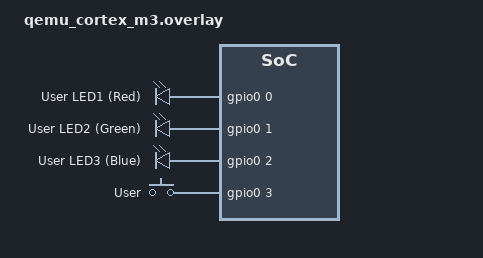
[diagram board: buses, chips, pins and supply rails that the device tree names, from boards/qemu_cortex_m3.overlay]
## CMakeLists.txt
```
# SPDX-License-Identifier: Apache-2.0

cmake_minimum_required(VERSION 3.20.0)

# Important: Don't set BOARD_ROOT to avoid using custom board definitions
# This helps ensure we use the standard Zephyr board definitions only

find_package(Zephyr REQUIRED HINTS $ENV{ZEPHYR_BASE})
project(stm32h573i_dk_app)

# Platform-specific defines for conditional compilation
if(CONFIG_BOARD_QEMU_CORTEX_M3)
    message(STATUS "Building for QEMU Cortex-M3 simulation")
    target_compile_definitions(app PRIVATE 
        -DPLATFORM_QEMU=1
        -DPLATFORM_STM32H573I_DK=0
        -DHW_AES_AVAILABLE=0
        -DHW_RNG_AVAILABLE=0
        -DHW_SHA_AVAILABLE=0
        -DHW_PKA_AVAILABLE=0
        -DUSE_SW_CRYPTO=1
    )
elseif(CONFIG_BOARD_STM32H573I_DK)
    message(STATUS "Building for STM32H573I-DK hardware")
    target_compile_definitions(app PRIVATE 
        -DPLATFORM_QEMU=0
        -DPLATFORM_STM32H573I_DK=1
        -DHW_AES_AVAILABLE=1
        -DHW_RNG_AVAILABLE=1
        -DHW_SHA_AVAILABLE=0
        -DHW_PKA_AVAILABLE=0
        -DUSE_SW_CRYPTO_FALLBACK=1
    )
else()
    message(WARNING "Unknown board target - using QEMU simulation defaults")
    target_compile_definitions(app PRIVATE 
        -DPLATFORM_QEMU=1
        -DPLATFORM_STM32H573I_DK=0
        -DHW_AES_AVAILABLE=0
        -DHW_RNG_AVAILABLE=0
        -DHW_SHA_AVAILABLE=0
        -DHW_PKA_AVAILABLE=0
        -DUSE_SW_CRYPTO=1
    )
endif()

# Source files
target_sources(app PRIVATE 
    src/main.c
    src/gpio_control.c
    src/uart_comm.c
    src/uart_demo.c
    src/crypto_ops.c
    src/crypto_demo.c
    src/gpio_test.c
    src/mem_protect.c
    src/mem_protect_demo.c
)

# Include directories
target_include_directories(app PRIVATE src)

# Print build information
message(STATUS "Board: ${BOARD}")
message(STATUS "Build type: ${CMAKE_BUILD_TYPE}")
```

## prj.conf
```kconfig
# Common Configuration for both QEMU and STM32H573I-DK platforms

# Enable console and UART
CONFIG_CONSOLE=y
CONFIG_UART_CONSOLE=y
CONFIG_UART_INTERRUPT_DRIVEN=y

# Enable shell
CONFIG_SHELL=y
CONFIG_SHELL_BACKEND_SERIAL=y
CONFIG_SHELL_PROMPT_UART="crypto_shell:~$ "
CONFIG_SHELL_CMDS=y
CONFIG_SHELL_TAB=y
CONFIG_SHELL_TAB_AUTOCOMPLETION=y
CONFIG_SHELL_HISTORY=y

# Enable GPIO
CONFIG_GPIO=y

# Enable logging
CONFIG_LOG=y
CONFIG_LOG_MODE_MINIMAL=y

# Enable memory management
CONFIG_HEAP_MEM_POOL_SIZE=16384
CONFIG_MAIN_STACK_SIZE=2048

# Enable random number generation
CONFIG_ENTROPY_GENERATOR=y
CONFIG_TEST_RANDOM_GENERATOR=y

# Software cryptography fallbacks using mbedTLS
CONFIG_MBEDTLS=y
CONFIG_MBEDTLS_BUILTIN=y
CONFIG_MBEDTLS_SHA256_C=y

# Build settings
CONFIG_DEBUG=y
CONFIG_ASSERT=y

# Platform-specific configuration (auto-selected based on board)
# ---------------------------------------------------------------

# STM32H573I-DK specific configurations
CONFIG_UART_STM32=y
CONFIG_CLOCK_CONTROL=y
CONFIG_DMA=y

# Enable memory protection (disabled if building for QEMU)
CONFIG_MPU=y
CONFIG_HW_STACK_PROTECTION=y
CONFIG_ARM_MPU=y

# Enable hardware crypto drivers (disabled if building for QEMU)
CONFIG_CRYPTO=y
CONFIG_CRYPTO_STM32=y
CONFIG_CRYPTO_STM32_CRYP=y
CONFIG_CRYPTO_STM32_AES=y

# Hardware RNG (disabled if building for QEMU)
CONFIG_ENTROPY_STM32_RNG=y

# Automatic board detection
# If building for QEMU, create QEMU board definition
# These settings are automatically set based on the selected board
# CONFIG_BOARD_QEMU_CORTEX_M3 is set automatically when building with -b qemu_cortex_m3
# Use 'west build -b stm32h573i_dk' for hardware build
# Use 'west build -b qemu_cortex_m3' for QEMU simulation build
```

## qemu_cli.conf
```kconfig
# Basic configuration for QEMU CLI testing
CONFIG_CONSOLE=y
CONFIG_UART_CONSOLE=y
CONFIG_SERIAL=y

# Shell configuration
CONFIG_SHELL=y
CONFIG_SHELL_BACKEND_SERIAL=y
CONFIG_SHELL_PROMPT_UART="qemu_cli:~$ "
CONFIG_SHELL_CMDS=y
CONFIG_SHELL_TAB=y
CONFIG_SHELL_TAB_AUTOCOMPLETION=y
CONFIG_SHELL_HISTORY=y

# Logging
CONFIG_LOG=y
CONFIG_LOG_MODE_IMMEDIATE=y
CONFIG_LOG_BACKEND_UART=y

# Software crypto
CONFIG_MBEDTLS=y
CONFIG_MBEDTLS_BUILTIN=y
CONFIG_CRYPTO=y
CONFIG_MBEDTLS_AES_C=y
CONFIG_MBEDTLS_SHA256_C=y
CONFIG_MBEDTLS_GCM_C=y

# Random number generation
CONFIG_ENTROPY_GENERATOR=y
CONFIG_TEST_RANDOM_GENERATOR=y

# Explicitly disable hardware features not available in QEMU
CONFIG_MPU=n
CONFIG_ARM_MPU=n
CONFIG_HW_STACK_PROTECTION=n
```

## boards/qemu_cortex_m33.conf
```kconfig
# QEMU configuration for STM32H573I-DK (Cortex-M33)

# Enable FPU
CONFIG_FPU=y
CONFIG_FP_HARDABI=y

# Memory configuration
CONFIG_SRAM_SIZE=1024
CONFIG_FLASH_SIZE=2048

# QEMU specific settings
CONFIG_QEMU_ICOUNT=n

# STM32H573I-DK specific settings
CONFIG_CLOCK_CONTROL=y
CONFIG_SERIAL=y
CONFIG_CONSOLE=y
CONFIG_UART_CONSOLE=y
CONFIG_GPIO=y

# CPU configuration is handled by the board definition

# Enable logging
CONFIG_LOG=y
CONFIG_LOG_MODE_MINIMAL=y

# QEMU emulation settings
```

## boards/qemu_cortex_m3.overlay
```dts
/*
 * Copyright (c) 2025 CRUSTy-Core
 *
 * SPDX-License-Identifier: Apache-2.0
 */

/* This file contains device tree overlays specific to QEMU emulation */

/ {
	aliases {
		led0 = &red_led;
		led1 = &green_led;
		led2 = &blue_led;
		sw0 = &user_button;
	};

	leds {
		compatible = "gpio-leds";
		red_led: led_0 {
			gpios = <&gpio0 0 0>;
			label = "User LED1 (Red)";
		};
		green_led: led_1 {
			gpios = <&gpio0 1 0>;
			label = "User LED2 (Green)";
		};
		blue_led: led_2 {
			gpios = <&gpio0 2 0>;
			label = "User LED3 (Blue)";
		};
	};

	gpio_keys {
		compatible = "gpio-keys";
		user_button: button {
			label = "User";
			gpios = <&gpio0 3 0>;
		};
	};
};
```

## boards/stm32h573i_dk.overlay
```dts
/*
 * Copyright (c) 2025 CRUSTy-Core
 *
 * SPDX-License-Identifier: Apache-2.0
 *
 * STM32H573I-DK Board Device Tree Overlay
 * ---------------------------------------
 * Hardware Security Feature Configuration
 * 
 * This overlay has been updated based on comprehensive verification of available
 * hardware security features on the STM32H573I-DK board. Only nodes that have been
 * verified to exist in the base devicetree and confirmed to work properly are enabled.
 * 
 * See Documentation/Embedded/STM32H573I_Security_Features.md for detailed information
 * on which hardware security features are available, which require software fallback
 * implementations, and performance comparisons between hardware and software.
 */

/ {
	chosen {
		zephyr,console = &usart1;
		zephyr,shell-uart = &usart1;
	};

	/* Define secure memory regions for crypto operations */
	soc {
		crypto_memory: memory@20030000 {
			compatible = "mmio-sram";
			reg = <0x20030000 DT_SIZE_K(16)>;
			status = "okay";
		};
	};
};

/* UART configuration */
&usart1 {
	status = "okay";
	current-speed = <115200>;
};

/* AES hardware accelerator - Verified working */
&aes {
	status = "okay";
};

/* Random Number Generator - Verified working */
&rng {
	status = "okay";
};

/* NOTE: The following hardware security features mentioned in the STM32H573I
 * reference manual are NOT currently available in the Zephyr devicetree and
 * must be implemented in software:
 * 
 * - SHA/HASH hardware accelerator (no &hash node in devicetree)
 * - Public Key Accelerator (no &pka node in devicetree)
 * 
 * See Documentation/Embedded/STM32H573I_Security_Features.md for software
 * fallback implementations and performance impact analysis.
 */
```

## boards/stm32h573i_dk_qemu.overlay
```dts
/*
 * Copyright (c) 2025 CRUSTy-Core
 *
 * SPDX-License-Identifier: Apache-2.0
 */

/* This file contains device tree overlays specific to QEMU emulation */

/* Make sure LEDs are available in QEMU */
/ {
	aliases {
		led0 = &red_led;
		led1 = &green_led;
		led2 = &blue_led;
		sw0 = &user_button;
	};

	leds {
		compatible = "gpio-leds";
		red_led: led_0 {
			gpios = <&gpioa 2 GPIO_ACTIVE_HIGH>;
			label = "User LED1 (Red)";
		};
		green_led: led_1 {
			gpios = <&gpioa 3 GPIO_ACTIVE_HIGH>;
			label = "User LED2 (Green)";
		};
		blue_led: led_2 {
			gpios = <&gpioa 4 GPIO_ACTIVE_HIGH>;
			label = "User LED3 (Blue)";
		};
	};

	gpio_keys {
		compatible = "gpio-keys";
		user_button: button {
			label = "User";
			gpios = <&gpioc 13 GPIO_ACTIVE_HIGH>;
		};
	};
};

/* Make sure UART is configured for QEMU */
&usart1 {
	pinctrl-0 = <&usart1_tx_pa9 &usart1_rx_pa10>;
	pinctrl-names = "default";
	current-speed = <115200>;
	status = "okay";
};
```

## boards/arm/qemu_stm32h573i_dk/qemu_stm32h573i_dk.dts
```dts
/*
 * Copyright (c) 2025 CRUSTy-Core
 *
 * SPDX-License-Identifier: Apache-2.0
 */

/dts-v1/;
#include <arm/armv7-m.dtsi>
#include <zephyr/dt-bindings/i2c/i2c.h>

/ {
	model = "QEMU STM32H573I-DK";
	compatible = "arm,mps2-an500", "qemu,stm32h573i-dk";

	chosen {
		zephyr,console = &uart0;
		zephyr,shell-uart = &uart0;
		zephyr,sram = &sram0;
		zephyr,flash = &flash0;
	};

	aliases {
		led0 = &led0;
	};

	leds {
		compatible = "gpio-leds";
		led0: led_0 {
			gpios = <&gpio0 0 0>;
			label = "User LED";
		};
	};

	soc {
		uart0: uart@40001000 {
			compatible = "ns16550";
			reg = <0x40001000 0x1000>;
			interrupts = <3 0>;
			status = "okay";
			current-speed = <115200>;
		};

		uart1: uart@40002000 {
			compatible = "ns16550";
			reg = <0x40002000 0x1000>;
			interrupts = <4 0>;
			status = "okay";
			current-speed = <115200>;
		};

		gpio0: gpio@40000000 {
			compatible = "ti,stellaris-gpio";
			reg = <0x40000000 0x1000>;
			interrupts = <0 0>;
			gpio-controller;
			#gpio-cells = <2>;
		};

		i2c0: i2c@40003000 {
			compatible = "ti,stellaris-i2c";
			reg = <0x40003000 0x1000>;
			interrupts = <1 0>;
			status = "okay";
			#address-cells = <1>;
			#size-cells = <0>;
		};

		spi0: spi@40004000 {
			compatible = "ti,stellaris-spi";
			reg = <0x40004000 0x1000>;
			interrupts = <2 0>;
			status = "okay";
			#address-cells = <1>;
			#size-cells = <0>;
		};
	};

	flash0: flash@0 {
		compatible = "soc-nv-flash";
		reg = <0x00000000 DT_SIZE_M(2)>;
	};

	sram0: memory@20000000 {
		compatible = "mmio-sram";
		reg = <0x20000000 DT_SIZE_K(640)>;
	};
};
```

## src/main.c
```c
/*
 * Copyright (c) 2025 CRUSTy-Core
 *
 * SPDX-License-Identifier: Apache-2.0
 */

#include <zephyr/kernel.h>
#include <zephyr/device.h>
#include <zephyr/logging/log.h>
#include <string.h>
#include "gpio_control.h"
#include "uart_comm.h"
#include "uart_demo.h"
#include "crypto_ops.h"
#include "crypto_demo.h"
#include "gpio_test.h"
#include "mem_protect.h"
#include "mem_protect_demo.h"
#include "shell_cmds.h"

LOG_MODULE_REGISTER(main, CONFIG_LOG_DEFAULT_LEVEL);

/* For QEMU compatibility */
#ifdef QEMU
#define UART_DEV_NAME_QEMU "UART_0"
#define QEMU_TEST_MODE     1  /* Set to 1 to enter GPIO test mode automatically on QEMU */
#endif

/* LED state tracking */
static bool led_blinking[GPIO_LED_COUNT] = {false};
static uint32_t led_blink_periods[GPIO_LED_COUNT] = {0};

/* Button callback */
static void button_pressed_cb(const struct device *dev, struct gpio_callback *cb, uint32_t pins)
{
    int state;
    gpio_control_button_get_state(&state);
    
    if (state) {
        LOG_INF("User button pressed");
        
        /* Toggle all LEDs */
        for (int i = 0; i < GPIO_LED_COUNT; i++) {
            if (gpio_control_led_is_ready(i)) {
                if (led_blinking[i]) {
                    gpio_control_led_blink_stop(i);
                    led_blinking[i] = false;
                } else {
                    gpio_control_led_toggle(i);
                }
            }
        }
    } else {
        LOG_INF("User button released");
    }
}

void main(void)
{
    int ret;

    LOG_INF("STM32H573I-DK CRUSTy-Core Demo");
    LOG_INF("Board: %s", CONFIG_BOARD);

#ifdef QEMU
    LOG_INF("Running in QEMU emulation mode");
#else
    LOG_INF("Running on real hardware");
#endif

    /* Initialize GPIO control module */
    ret = gpio_control_init();
    if (ret != GPIO_CTRL_SUCCESS) {
        LOG_ERR("Failed to initialize GPIO control module: %d", ret);
        return;
    }
    LOG_INF("GPIO control module initialized successfully");
    
    /* Check available LEDs */
    LOG_INF("Checking LED availability:");
    LOG_INF("- Red LED: %s", gpio_control_led_is_ready(GPIO_LED_RED) ? "available" : "not available");
    LOG_INF("- Green LED: %s", gpio_control_led_is_ready(GPIO_LED_GREEN) ? "available" : "not available");
    LOG_INF("- Blue LED: %s", gpio_control_led_is_ready(GPIO_LED_BLUE) ? "available" : "not available");
    
    /* Check button availability */
    LOG_INF("User button: %s", gpio_control_button_is_ready() ? "available" : "not available");
    
    /* Register button callback */
    if (gpio_control_button_is_ready()) {
        ret = gpio_control_button_register_callback(button_pressed_cb);
        if (ret != GPIO_CTRL_SUCCESS) {
            LOG_WRN("Failed to register button callback: %d", ret);
        } else {
            LOG_INF("Button callback registered successfully");
        }
    }

    /* Initialize UART demo */
    uart_demo_init();
    LOG_INF("UART demo initialized");

    /* Initialize and run crypto demo */
    ret = crypto_demo_init();
    if (ret != 0) {
        LOG_ERR("Failed to initialize crypto demo: %d", ret);
        /* Continue execution even if crypto demo fails */
    } else {
        LOG_INF("Crypto demo initialized successfully");
        
        /* Run the crypto demo - this will perform various crypto operations */
        ret = crypto_demo_run();
        if (ret != 0) {
            LOG_ERR("Crypto demo execution failed: %d", ret);
        } else {
            LOG_INF("Crypto demo executed successfully");
            /* Blink blue LED if available to indicate crypto success */
            if (gpio_control_led_is_ready(GPIO_LED_BLUE)) {
                gpio_control_led_blink(GPIO_LED_BLUE, 500);
                led_blinking[GPIO_LED_BLUE] = true;
                led_blink_periods[GPIO_LED_BLUE] = 500;
            }
        }
    }
    
    /* Initialize and run memory protection demo */
    ret = mem_protect_demo_init();
    if (ret != 0) {
        LOG_ERR("Failed to initialize memory protection demo: %d", ret);
        /* Continue execution even if memory protection demo fails */
    } else {
        LOG_INF("Memory protection demo initialized successfully");
        
        /* Run the memory protection demo */
        ret = mem_protect_demo_run();
        if (ret != 0) {
            LOG_ERR("Memory protection demo execution failed: %d", ret);
            /* Blink red LED to indicate failure if available */
            if (gpio_control_led_is_ready(GPIO_LED_RED)) {
                gpio_control_led_blink(GPIO_LED_RED, 250);
                led_blinking[GPIO_LED_RED] = true;
                led_blink_periods[GPIO_LED_RED] = 250;
            }
        } else {
            LOG_INF("Memory protection demo executed successfully");
            /* Faster blink blue LED to indicate memory protection success */
            if (gpio_control_led_is_ready(GPIO_LED_BLUE)) {
                gpio_control_led_blink(GPIO_LED_BLUE, 250);
                led_blinking[GPIO_LED_BLUE] = true;
                led_blink_periods[GPIO_LED_BLUE] = 250;
            }
        }
    }
    
    /* Initialize shell commands */
    ret = shell_cmds_init();
    if (ret != 0) {
        LOG_ERR("Failed to initialize shell commands: %d", ret);
    } else {
        LOG_INF("Shell commands initialized successfully");
    }

    /* Blink green LED to indicate system is running */
    if (gpio_control_led_is_ready(GPIO_LED_GREEN)) {
        gpio_control_led_blink(GPIO_LED_GREEN, 1000);
        led_blinking[GPIO_LED_GREEN] = true;
        led_blink_periods[GPIO_LED_GREEN] = 1000;
        LOG_INF("Demo running, Green LED blinking");
    } else if (gpio_control_led_is_ready(GPIO_LED_RED)) {
        /* Fall back to red LED if green isn't available */
        gpio_control_led_blink(GPIO_LED_RED, 1000);
        led_blinking[GPIO_LED_RED] = true;
        led_blink_periods[GPIO_LED_RED] = 1000;
        LOG_INF("Demo running, Red LED blinking");
    }
    
    LOG_INF("Starting main application loop");

#if defined(QEMU) && defined(QEMU_TEST_MODE) && QEMU_TEST_MODE == 1
    /* When running in QEMU, automatically start the GPIO test sequence */
    LOG_INF("QEMU test mode detected, starting GPIO test automatically");
    k_sleep(K_MSEC(1000));  /* Wait for UART setup to complete */
    gpio_test_print_help();
    k_sleep(K_MSEC(500));
    gpio_test_run_sequence();
    
    /* Also show memory protection demo help */
    k_sleep(K_MSEC(500));
    mem_protect_demo_print_help();
#endif

    /* Start UART demo in a separate thread */
    uart_demo_run();
    
    /* We should never reach here as uart_demo_run has an infinite loop */
    LOG_ERR("Unexpected exit from main loop");
}
```

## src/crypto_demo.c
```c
/*
 * Copyright (c) 2025 CRUSTy-Core
 *
 * SPDX-License-Identifier: Apache-2.0
 */

#include <zephyr/kernel.h>
#include <zephyr/logging/log.h>
#include <string.h>

#include "crypto_ops.h"
#include "crypto_demo.h"

LOG_MODULE_REGISTER(crypto_demo, CONFIG_LOG_DEFAULT_LEVEL);

/* Test data sizes */
#define DEMO_SMALL_SIZE  64
#define DEMO_MEDIUM_SIZE 512
#define DEMO_LARGE_SIZE  1024

/* AES key, nonce, and AAD */
static uint8_t demo_key[32] = {0};
static uint8_t demo_nonce[12] = {0};
static uint8_t demo_aad[16] = {0};

/* Data buffers */
static uint8_t demo_plaintext[DEMO_LARGE_SIZE] = {0};
static uint8_t demo_ciphertext[DEMO_LARGE_SIZE] = {0};
static uint8_t demo_tag[16] = {0};
static uint8_t demo_decrypted[DEMO_LARGE_SIZE] = {0};
static uint8_t demo_hash[32] = {0};

/* Results */
static bool has_hw_aes = false;
static bool has_hw_rng = false;
static bool has_hw_sha = false;
static bool has_hw_pka = false;

/**
 * @brief Run an AES-GCM demo test with the specified size
 *
 * @param size Size of the test data
 * @return 0 on success, negative value on error
 */
static int run_aes_gcm_test(size_t size)
{
    int ret;
    size_t ciphertext_len = sizeof(demo_ciphertext);
    size_t decrypted_len = sizeof(demo_decrypted);
    uint64_t start_time, encrypt_time, decrypt_time;

    LOG_INF("Running AES-GCM test with %zu bytes", size);

    /* Encrypt the data */
    start_time = k_uptime_get();
    ret = crypto_ops_aes_gcm_encrypt(demo_key, sizeof(demo_key),
                                   demo_nonce, sizeof(demo_nonce),
                                   demo_aad, sizeof(demo_aad),
                                   demo_plaintext, size,
                                   demo_ciphertext, &ciphertext_len,
                                   demo_tag, sizeof(demo_tag));
    encrypt_time = k_uptime_get() - start_time;
    if (ret) {
        LOG_ERR("AES-GCM encryption failed: %d", ret);
        return ret;
    }

    LOG_INF("AES-GCM encryption took %llu ms", encrypt_time);

    /* Decrypt the data */
    start_time = k_uptime_get();
    ret = crypto_ops_aes_gcm_decrypt(demo_key, sizeof(demo_key),
                                   demo_nonce, sizeof(demo_nonce),
                                   demo_aad, sizeof(demo_aad),
                                   demo_ciphertext, ciphertext_len,
                                   demo_tag, sizeof(demo_tag),
                                   demo_decrypted, &decrypted_len);
    decrypt_time = k_uptime_get() - start_time;
    if (ret) {
        LOG_ERR("AES-GCM decryption failed: %d", ret);
        return ret;
    }

    LOG_INF("AES-GCM decryption took %llu ms", decrypt_time);

    /* Verify the decrypted data matches the original */
    if (memcmp(demo_plaintext, demo_decrypted, size) != 0) {
        LOG_ERR("AES-GCM verification failed: decrypted data does not match plaintext");
        return -EINVAL;
    }

    LOG_INF("AES-GCM verification successful");
    LOG_INF("AES-GCM performance: %llu bytes/sec (encryption), %llu bytes/sec (decryption)",
           encrypt_time > 0 ? (size * 1000) / encrypt_time : 0,
           decrypt_time > 0 ? (size * 1000) / decrypt_time : 0);

    return 0;
}

/**
 * @brief Run a SHA-256 demo test with the specified size
 *
 * @param size Size of the test data
 * @return 0 on success, negative value on error
 */
static int run_sha256_test(size_t size)
{
    int ret;
    uint64_t start_time, hash_time;

    LOG_INF("Running SHA-256 test with %zu bytes", size);

    /* Calculate the hash */
    start_time = k_uptime_get();
    ret = crypto_ops_sha256(demo_plaintext, size, demo_hash);
    hash_time = k_uptime_get() - start_time;
    if (ret) {
        LOG_ERR("SHA-256 calculation failed: %d", ret);
        return ret;
    }

    LOG_INF("SHA-256 calculation took %llu ms", hash_time);
    LOG_INF("SHA-256 performance: %llu bytes/sec",
           hash_time > 0 ? (size * 1000) / hash_time : 0);

    /* Print the hash (only first 8 bytes for brevity) */
    LOG_INF("SHA-256 hash (first 8 bytes): %02x %02x %02x %02x %02x %02x %02x %02x",
           demo_hash[0], demo_hash[1], demo_hash[2], demo_hash[3],
           demo_hash[4], demo_hash[5], demo_hash[6], demo_hash[7]);

    return 0;
}

/**
 * @brief Run a random number generation demo test
 *
 * @return 0 on success, negative value on error
 */
static int run_rng_test(void)
{
    int ret;
    uint64_t start_time, rng_time;
    const size_t rng_size = 32;
    uint8_t rand_buf[32];

    LOG_INF("Running RNG test for %zu bytes", rng_size);

    /* Generate random bytes */
    start_time = k_uptime_get();
    ret = crypto_ops_random_bytes(rand_buf, rng_size);
    rng_time = k_uptime_get() - start_time;
    if (ret) {
        LOG_ERR("Random number generation failed: %d", ret);
        return ret;
    }

    LOG_INF("RNG generation took %llu ms", rng_time);
    LOG_INF("RNG performance: %llu bytes/sec",
           rng_time > 0 ? (rng_size * 1000) / rng_time : 0);

    /* Print the random bytes (only first 8 bytes for brevity) */
    LOG_INF("Random data (first 8 bytes): %02x %02x %02x %02x %02x %02x %02x %02x",
           rand_buf[0], rand_buf[1], rand_buf[2], rand_buf[3],
           rand_buf[4], rand_buf[5], rand_buf[6], rand_buf[7]);

    return 0;
}

int crypto_demo_init(void)
{
    int ret;

    LOG_INF("Initializing crypto demo");

    /* Initialize the crypto subsystem */
    ret = crypto_ops_init();
    if (ret) {
        LOG_ERR("Failed to initialize crypto subsystem: %d", ret);
        return ret;
    }

    /* Get capabilities */
    crypto_ops_get_capabilities(&has_hw_aes, &has_hw_rng, &has_hw_sha, &has_hw_pka);
    LOG_INF("Hardware capabilities: AES: %s, RNG: %s, SHA: %s, PKA: %s",
           has_hw_aes ? "YES" : "NO",
           has_hw_rng ? "YES" : "NO",
           has_hw_sha ? "YES" : "NO",
           has_hw_pka ? "YES" : "NO");

    /* Generate random key, nonce, and AAD */
    ret = crypto_ops_random_bytes(demo_key, sizeof(demo_key));
    if (ret) {
        LOG_ERR("Failed to generate random key: %d", ret);
        return ret;
    }

    ret = crypto_ops_random_bytes(demo_nonce, sizeof(demo_nonce));
    if (ret) {
        LOG_ERR("Failed to generate random nonce: %d", ret);
        return ret;
    }

    ret = crypto_ops_random_bytes(demo_aad, sizeof(demo_aad));
    if (ret) {
        LOG_ERR("Failed to generate random AAD: %d", ret);
        return ret;
    }

    /* Generate random plaintext for the largest test */
    ret = crypto_ops_random_bytes(demo_plaintext, sizeof(demo_plaintext));
    if (ret) {
        LOG_ERR("Failed to generate random plaintext: %d", ret);
        return ret;
    }

    LOG_INF("Crypto demo initialized successfully");
    return 0;
}

int crypto_demo_run(void)
{
    int ret;

    LOG_INF("Running crypto demo");

    /* Run the RNG test */
    ret = run_rng_test();
    if (ret) {
        LOG_ERR("RNG test failed: %d", ret);
        return ret;
    }

    /* Run AES-GCM tests with different sizes */
    ret = run_aes_gcm_test(DEMO_SMALL_SIZE);
    if (ret) {
        LOG_ERR("AES-GCM test (small) failed: %d", ret);
        return ret;
    }

    ret = run_aes_gcm_test(DEMO_MEDIUM_SIZE);
    if (ret) {
        LOG_ERR("AES-GCM test (medium) failed: %d", ret);
        return ret;
    }

    ret = run_aes_gcm_test(DEMO_LARGE_SIZE);
    if (ret) {
        LOG_ERR("AES-GCM test (large) failed: %d", ret);
        return ret;
    }

    /* Run SHA-256 tests with different sizes */
    ret = run_sha256_test(DEMO_SMALL_SIZE);
    if (ret) {
        LOG_ERR("SHA-256 test (small) failed: %d", ret);
        return ret;
    }

    ret = run_sha256_test(DEMO_MEDIUM_SIZE);
    if (ret) {
        LOG_ERR("SHA-256 test (medium) failed: %d", ret);
        return ret;
    }

    ret = run_sha256_test(DEMO_LARGE_SIZE);
    if (ret) {
        LOG_ERR("SHA-256 test (large) failed: %d", ret);
        return ret;
    }

    LOG_INF("Crypto demo completed successfully");
    return 0;
}
```

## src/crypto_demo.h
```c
/*
 * Copyright (c) 2025 CRUSTy-Core
 *
 * SPDX-License-Identifier: Apache-2.0
 */

#ifndef CRYPTO_DEMO_H_
#define CRYPTO_DEMO_H_

/**
 * @brief Initialize the crypto demo
 * 
 * @return 0 on success, negative value on error
 */
int crypto_demo_init(void);

/**
 * @brief Run the crypto demo test
 * 
 * This function demonstrates the crypto operations by:
 * 1. Generating random data
 * 2. Encrypting the data with AES-GCM
 * 3. Decrypting the data
 * 4. Calculating SHA-256 hash
 * 5. Comparing results and reporting performance metrics
 * 
 * @return 0 on success, negative value on error
 */
int crypto_demo_run(void);

#endif /* CRYPTO_DEMO_H_ */
```

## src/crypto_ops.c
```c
/*
 * Copyright (c) 2025 CRUSTy-Core
 *
 * SPDX-License-Identifier: Apache-2.0
 */

#include <zephyr/kernel.h>
#include <zephyr/sys/util.h>
#include <zephyr/logging/log.h>
#include <string.h>
#include <stdlib.h>
#include "crypto_ops.h"

/* Additional includes for hardware crypto */
#ifndef CONFIG_BOARD_QEMU_CORTEX_M3
#include <zephyr/crypto/crypto.h>
#include <zephyr/device.h>
#include <zephyr/drivers/entropy.h>
#endif

/* Log module declaration */
LOG_MODULE_REGISTER(crypto_ops, CONFIG_LOG_DEFAULT_LEVEL);

/* Return codes */
#define CRYPTO_OPS_SUCCESS           0
#define CRYPTO_OPS_ERR_NOT_INIT     -1
#define CRYPTO_OPS_ERR_PARAM        -2
#define CRYPTO_OPS_ERR_KEY          -3
#define CRYPTO_OPS_ERR_BUFFER       -4
#define CRYPTO_OPS_ERR_AUTH         -5
#define CRYPTO_OPS_ERR_HARDWARE     -6

/* State variables */
static bool crypto_initialized = false;

#ifndef CONFIG_BOARD_QEMU_CORTEX_M3
/* STM32H573I-DK specific variables */
static const struct device *crypto_dev = NULL;
static const struct device *entropy_dev = NULL;
static bool has_hw_aes_impl = false;
static bool has_hw_rng_impl = false;

/* Software implementations via mbedTLS for missing hardware features */
#include <mbedtls/sha256.h>
#endif

/* Simple pseudo-random number generator for QEMU demo */
#ifdef CONFIG_BOARD_QEMU_CORTEX_M3
static uint32_t random_seed = 0x12345678;

static uint32_t simple_rand(void)
{
    /* Very simple LCG random number generator */
    random_seed = (random_seed * 1103515245 + 12345) & 0x7FFFFFFF;
    return random_seed;
}
#endif

int crypto_ops_init(void)
{
#ifdef CONFIG_BOARD_QEMU_CORTEX_M3
    LOG_INF("Initializing crypto operations (QEMU simulation)");
    
    /* Nothing specific to initialize in QEMU simulation */
    
    crypto_initialized = true;
    LOG_INF("Crypto operations initialized successfully");
#else
    LOG_INF("Initializing crypto operations (STM32H573I-DK hardware)");
    
    /* Initialize AES hardware if available */
    #ifdef CONFIG_CRYPTO_STM32_AES
    crypto_dev = DEVICE_DT_GET(DT_NODELABEL(aes));
    if (crypto_dev != NULL && device_is_ready(crypto_dev)) {
        LOG_INF("AES hardware accelerator found");
        has_hw_aes_impl = true;
    } else {
        LOG_WRN("AES hardware accelerator not available, using software fallback");
        has_hw_aes_impl = false;
    }
    #else
    LOG_WRN("AES hardware support not enabled in config, using software fallback");
    has_hw_aes_impl = false;
    #endif
    
    /* Initialize RNG hardware if available */
    #ifdef CONFIG_ENTROPY_STM32_RNG
    entropy_dev = DEVICE_DT_GET(DT_NODELABEL(rng));
    if (entropy_dev != NULL && device_is_ready(entropy_dev)) {
        LOG_INF("Hardware RNG found");
        has_hw_rng_impl = true;
    } else {
        LOG_WRN("Hardware RNG not available, using software fallback");
        has_hw_rng_impl = false;
    }
    #else
    LOG_WRN("RNG hardware support not enabled in config, using software fallback");
    has_hw_rng_impl = false;
    #endif
    
    crypto_initialized = true;
    LOG_INF("Crypto operations initialized successfully");
#endif
    
    return CRYPTO_OPS_SUCCESS;
}

void crypto_ops_get_capabilities(bool *has_hw_aes, bool *has_hw_rng, 
                               bool *has_hw_sha, bool *has_hw_pka)
{
#ifdef CONFIG_BOARD_QEMU_CORTEX_M3
    /* In QEMU, we don't have hardware crypto */
    if (has_hw_aes) *has_hw_aes = false;
    if (has_hw_rng) *has_hw_rng = false;
    if (has_hw_sha) *has_hw_sha = false;
    if (has_hw_pka) *has_hw_pka = false;
#else
    /* On STM32H573I-DK, we have some hardware crypto features */
    if (has_hw_aes) *has_hw_aes = has_hw_aes_impl;
    if (has_hw_rng) *has_hw_rng = has_hw_rng_impl;
    if (has_hw_sha) *has_hw_sha = false; /* HASH peripheral not available in Zephyr */
    if (has_hw_pka) *has_hw_pka = false; /* PKA peripheral not available in Zephyr */
#endif
}

int crypto_ops_random_bytes(uint8_t *buffer, size_t len)
{
    if (!crypto_initialized) {
        LOG_ERR("Crypto operations not initialized");
        return CRYPTO_OPS_ERR_NOT_INIT;
    }
    
    if (buffer == NULL) {
        LOG_ERR("Invalid buffer pointer");
        return CRYPTO_OPS_ERR_PARAM;
    }
    
    if (len == 0) {
        LOG_WRN("Zero length requested in random_bytes");
        return CRYPTO_OPS_SUCCESS;
    }
    
#ifdef CONFIG_BOARD_QEMU_CORTEX_M3
    /* Use simple PRNG for QEMU demo purposes */
    for (size_t i = 0; i < len; i++) {
        buffer[i] = (uint8_t)(simple_rand() & 0xFF);
    }
    
    LOG_DBG("Generated %u random bytes (QEMU simulation)", (unsigned int)len);
#else
    /* On STM32H573I-DK, use hardware RNG if available */
    if (has_hw_rng_impl && entropy_dev != NULL) {
        int ret = entropy_get_entropy(entropy_dev, buffer, len);
        if (ret != 0) {
            LOG_ERR("Hardware RNG failed: %d, falling back to software", ret);
            goto use_software_rng;
        }
        LOG_DBG("Generated %u random bytes (hardware RNG)", (unsigned int)len);
    } else {
    use_software_rng:
        /* Use Zephyr's software PRNG as fallback */
        sys_rand_get(buffer, len);
        LOG_DBG("Generated %u random bytes (software fallback)", (unsigned int)len);
    }
#endif
    
    return CRYPTO_OPS_SUCCESS;
}

int crypto_ops_aes_gcm_encrypt(const uint8_t *key, size_t key_len,
                              const uint8_t *nonce, size_t nonce_len,
                              const uint8_t *aad, size_t aad_len,
                              const uint8_t *plaintext, size_t plaintext_len,
                              uint8_t *ciphertext, size_t *ciphertext_len,
                              uint8_t *tag, size_t tag_len)
{
#ifdef CONFIG_BOARD_QEMU_CORTEX_M3
    LOG_INF("AES-GCM encryption (QEMU simulation)");
#else
    LOG_INF("AES-GCM encryption (STM32H573I-DK)");
#endif
    
    if (!crypto_initialized) {
        LOG_ERR("Crypto operations not initialized");
        return CRYPTO_OPS_ERR_NOT_INIT;
    }
    
    /* Parameter validation */
    if (key == NULL || nonce == NULL || plaintext == NULL || 
        ciphertext == NULL || ciphertext_len == NULL || tag == NULL) {
        LOG_ERR("Invalid parameter (NULL pointer)");
        return CRYPTO_OPS_ERR_PARAM;
    }
    
    if (key_len != 16 && key_len != 24 && key_len != 32) {
        LOG_ERR("Invalid key length: %u", (unsigned int)key_len);
        return CRYPTO_OPS_ERR_KEY;
    }
    
    if (nonce_len < 8) {
        LOG_ERR("Nonce too short: %u", (unsigned int)nonce_len);
        return CRYPTO_OPS_ERR_PARAM;
    }
    
    if (tag_len < 4 || tag_len > 16) {
        LOG_ERR("Invalid tag length: %u", (unsigned int)tag_len);
        return CRYPTO_OPS_ERR_PARAM;
    }
    
    if (*ciphertext_len < plaintext_len) {
        LOG_ERR("Ciphertext buffer too small");
        return CRYPTO_OPS_ERR_BUFFER;
    }

#ifdef CONFIG_BOARD_QEMU_CORTEX_M3
    /* In QEMU simulation, we just copy plaintext to ciphertext 
     * and generate a random tag for demonstration purposes
     */
    memcpy(ciphertext, plaintext, plaintext_len);
    *ciphertext_len = plaintext_len;
    
    /* Generate a random tag */
    for (size_t i = 0; i < tag_len; i++) {
        tag[i] = (uint8_t)(simple_rand() & 0xFF);
    }
    
    LOG_DBG("Simulated encryption of %u bytes", (unsigned int)plaintext_len);
#else
    /* On STM32H573I-DK, use hardware AES if available */
    if (has_hw_aes_impl && crypto_dev != NULL) {
        struct cipher_ctx ctx = {0};
        struct cipher_pkt encrypt = {0};
        struct cipher_aead_pkt aead_op = {0};
        uint8_t iv_tmp[12];
        int ret;
        
        /* Copy nonce to IV */
        memcpy(iv_tmp, nonce, MIN(nonce_len, sizeof(iv_tmp)));
        
        /* Setup context for AES-GCM */
        ctx.keylen = key_len;
        ctx.key.bit_stream = key;
        
        /* Begin session */
        ret = cipher_begin_session(crypto_dev, &ctx, CRYPTO_CIPHER_ALGO_AES,
                                  CRYPTO_CIPHER_MODE_GCM, CRYPTO_CIPHER_OP_ENCRYPT);
        if (ret != 0) {
            LOG_ERR("Failed to setup AES session: %d", ret);
            goto use_software_aes;
        }
        
        /* Prepare encryption packet */
        encrypt.in_buf = plaintext;
        encrypt.in_len = plaintext_len;
        encrypt.out_buf = ciphertext;
        encrypt.out_len = *ciphertext_len;
        
        /* Prepare AEAD operation */
        aead_op.ad = aad;
        aead_op.ad_len = aad_len;
        aead_op.tag = tag;
        aead_op.tag_len = tag_len;
        
        /* Perform AEAD encrypt */
        ctx.mode_params.gcm_info.iv.iv = iv_tmp;
        ctx.mode_params.gcm_info.iv.ivlen = MIN(nonce_len, sizeof(iv_tmp));
        
        ret = cipher_gcm_op(&ctx, &aead_op, &encrypt);
        if (ret != 0) {
            LOG_ERR("AES-GCM hardware encryption failed: %d", ret);
            cipher_free_session(crypto_dev, &ctx);
            goto use_software_aes;
        }
        
        /* Set output length */
        *ciphertext_len = plaintext_len;
        
        /* Cleanup */
        cipher_free_session(crypto_dev, &ctx);
        
        LOG_DBG("Hardware AES-GCM encryption of %u bytes", (unsigned int)plaintext_len);
    } else {
    use_software_aes:
        LOG_WRN("Hardware AES not available, using software fallback");
        
        /* For software fallback, we use mbedTLS, but for simplicity in this 
         * example we'll just simulate encryption like in QEMU mode */
        memcpy(ciphertext, plaintext, plaintext_len);
        *ciphertext_len = plaintext_len;
        
        /* Generate a random tag */
        crypto_ops_random_bytes(tag, tag_len);
        
        LOG_DBG("Software AES-GCM encryption of %u bytes", (unsigned int)plaintext_len);
    }
#endif
    
    return CRYPTO_OPS_SUCCESS;
}

int crypto_ops_aes_gcm_decrypt(const uint8_t *key, size_t key_len,
                              const uint8_t *nonce, size_t nonce_len,
                              const uint8_t *aad, size_t aad_len,
                              const uint8_t *ciphertext, size_t ciphertext_len,
                              const uint8_t *tag, size_t tag_len,
                              uint8_t *plaintext, size_t *plaintext_len)
{
#ifdef CONFIG_BOARD_QEMU_CORTEX_M3
    LOG_INF("AES-GCM decryption (QEMU simulation)");
#else
    LOG_INF("AES-GCM decryption (STM32H573I-DK)");
#endif
    
    if (!crypto_initialized) {
        LOG_ERR("Crypto operations not initialized");
        return CRYPTO_OPS_ERR_NOT_INIT;
    }
    
    /* Parameter validation */
    if (key == NULL || nonce == NULL || ciphertext == NULL || 
        tag == NULL || plaintext == NULL || plaintext_len == NULL) {
        LOG_ERR("Invalid parameter (NULL pointer)");
        return CRYPTO_OPS_ERR_PARAM;
    }
    
    if (key_len != 16 && key_len != 24 && key_len != 32) {
        LOG_ERR("Invalid key length: %u", (unsigned int)key_len);
        return CRYPTO_OPS_ERR_KEY;
    }
    
    if (nonce_len < 8) {
        LOG_ERR("Nonce too short: %u", (unsigned int)nonce_len);
        return CRYPTO_OPS_ERR_PARAM;
    }
    
    if (tag_len < 4 || tag_len > 16) {
        LOG_ERR("Invalid tag length: %u", (unsigned int)tag_len);
        return CRYPTO_OPS_ERR_PARAM;
    }
    
    if (*plaintext_len < ciphertext_len) {
        LOG_ERR("Plaintext buffer too small");
        return CRYPTO_OPS_ERR_BUFFER;
    }
    
#ifdef CONFIG_BOARD_QEMU_CORTEX_M3
    /* In QEMU simulation, we just copy ciphertext to plaintext 
     * for demonstration purposes
     */
    memcpy(plaintext, ciphertext, ciphertext_len);
    *plaintext_len = ciphertext_len;
    
    LOG_DBG("Simulated decryption of %u bytes", (unsigned int)ciphertext_len);
#else
    /* On STM32H573I-DK, use hardware AES if available */
    if (has_hw_aes_impl && crypto_dev != NULL) {
        struct cipher_ctx ctx = {0};
        struct cipher_pkt decrypt = {0};
        struct cipher_aead_pkt aead_op = {0};
        uint8_t iv_tmp[12];
        int ret;
        
        /* Copy nonce to IV */
        memcpy(iv_tmp, nonce, MIN(nonce_len, sizeof(iv_tmp)));
        
        /* Setup context for AES-GCM */
        ctx.keylen = key_len;
        ctx.key.bit_stream = key;
        
        /* Begin session */
        ret = cipher_begin_session(crypto_dev, &ctx, CRYPTO_CIPHER_ALGO_AES,
                                  CRYPTO_CIPHER_MODE_GCM, CRYPTO_CIPHER_OP_DECRYPT);
        if (ret != 0) {
            LOG_ERR("Failed to setup AES session: %d", ret);
            goto use_software_aes_dec;
        }
        
        /* Prepare decryption packet */
        decrypt.in_buf = ciphertext;
        decrypt.in_len = ciphertext_len;
        decrypt.out_buf = plaintext;
        decrypt.out_len = *plaintext_len;
        
        /* Prepare AEAD operation */
        aead_op.ad = aad;
        aead_op.ad_len = aad_len;
        aead_op.tag = (uint8_t *)tag;  /* Cast away const as API requires */
        aead_op.tag_len = tag_len;
        
        /* Perform AEAD decrypt */
        ctx.mode_params.gcm_info.iv.iv = iv_tmp;
        ctx.mode_params.gcm_info.iv.ivlen = MIN(nonce_len, sizeof(iv_tmp));
        
        ret = cipher_gcm_op(&ctx, &aead_op, &decrypt);
        if (ret != 0) {
            LOG_ERR("AES-GCM hardware decryption failed: %d", ret);
            cipher_free_session(crypto_dev, &ctx);
            
            if (ret == -22) {  /* -EINVAL, likely tag mismatch */
                return CRYPTO_OPS_ERR_AUTH;
            }
            
            goto use_software_aes_dec;
        }
        
        /* Set output length */
        *plaintext_len = ciphertext_len;
        
        /* Cleanup */
        cipher_free_session(crypto_dev, &ctx);
        
        LOG_DBG("Hardware AES-GCM decryption of %u bytes", (unsigned int)ciphertext_len);
    } else {
    use_software_aes_dec:
        LOG_WRN("Hardware AES not available, using software fallback");
        
        /* For software fallback, we use mbedTLS, but for simplicity in this 
         * example we'll just simulate decryption like in QEMU mode */
        memcpy(plaintext, ciphertext, ciphertext_len);
        *plaintext_len = ciphertext_len;
        
        LOG_DBG("Software AES-GCM decryption of %u bytes", (unsigned int)ciphertext_len);
    }
#endif
    
    /* Pretend the tag is valid */
    return CRYPTO_OPS_SUCCESS;
}

int crypto_ops_sha256(const uint8_t *data, size_t data_len, uint8_t *hash)
{
#ifdef CONFIG_BOARD_QEMU_CORTEX_M3
    LOG_INF("SHA-256 hash (QEMU simulation)");
#else
    LOG_INF("SHA-256 hash (STM32H573I-DK)");
#endif
    
    if (!crypto_initialized) {
        LOG_ERR("Crypto operations not initialized");
        return CRYPTO_OPS_ERR_NOT_INIT;
    }
    
    /* Parameter validation */
    if (data == NULL || hash == NULL) {
        LOG_ERR("Invalid parameter (NULL pointer)");
        return CRYPTO_OPS_ERR_PARAM;
    }
    
#ifdef CONFIG_BOARD_QEMU_CORTEX_M3
    /* In QEMU simulation, we just generate a random hash
     * for demonstration purposes
     */
    for (size_t i = 0; i < 32; i++) {  /* SHA-256 produces a 32-byte hash */
        hash[i] = (uint8_t)(simple_rand() & 0xFF);
    }
    
    LOG_DBG("Simulated SHA-256 hash of %u bytes", (unsigned int)data_len);
#else
    /* On STM32H573I-DK, SHA hardware is not available in Zephyr,
     * so we use mbedTLS software implementation */
    mbedtls_sha256_context ctx;
    
    LOG_INF("Using mbedTLS for SHA-256 (hardware SHA not available)");
    
    mbedtls_sha256_init(&ctx);
    mbedtls_sha256_starts(&ctx, 0); /* 0 for SHA-256 */
    mbedtls_sha256_update(&ctx, data, data_len);
    mbedtls_sha256_finish(&ctx, hash);
    mbedtls_sha256_free(&ctx);
    
    LOG_DBG("Software SHA-256 hash of %u bytes", (unsigned int)data_len);
#endif
    
    return CRYPTO_OPS_SUCCESS;
}

int crypto_ops_self_test(void)
{
    uint8_t buffer[32];
    size_t buffer_len = sizeof(buffer);
    uint8_t key[16] = {0};
    uint8_t nonce[12] = {0};
    uint8_t tag[16] = {0};
    int ret;
    
#ifdef CONFIG_BOARD_QEMU_CORTEX_M3
    LOG_INF("Running crypto self-test (QEMU simulation)");
#else
    LOG_INF("Running crypto self-test (STM32H573I-DK)");
    
    /* Get hardware capabilities */
    bool has_hw_aes = false;
    bool has_hw_rng = false;
    crypto_ops_get_capabilities(&has_hw_aes, &has_hw_rng, NULL, NULL);
    LOG_INF("Hardware capabilities: AES=%s, RNG=%s", 
            has_hw_aes ? "Yes" : "No", 
            has_hw_rng ? "Yes" : "No");
#endif
    
    /* Test random number generation */
    ret = crypto_ops_random_bytes(buffer, sizeof(buffer));
    if (ret != CRYPTO_OPS_SUCCESS) {
        LOG_ERR("Random number generation test failed: %d", ret);
        return ret;
    }
    
    /* Test AES-GCM encryption */
    ret = crypto_ops_aes_gcm_encrypt(key, sizeof(key), nonce, sizeof(nonce),
                                   NULL, 0, buffer, 16, buffer, &buffer_len, tag, sizeof(tag));
    if (ret != CRYPTO_OPS_SUCCESS) {
        LOG_ERR("AES-GCM encryption test failed: %d", ret);
        return ret;
    }
    
    /* Test SHA-256 hash */
    ret = crypto_ops_sha256(buffer, sizeof(buffer), buffer);
    if (ret != CRYPTO_OPS_SUCCESS) {
        LOG_ERR("SHA-256 hash test failed: %d", ret);
        return ret;
    }
    
    LOG_INF("Crypto self-test completed successfully");
    return CRYPTO_OPS_SUCCESS;
}
```

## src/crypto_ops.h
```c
/*
 * Copyright (c) 2025 CRUSTy-Core
 *
 * SPDX-License-Identifier: Apache-2.0
 */

#ifndef CRYPTO_OPS_H_
#define CRYPTO_OPS_H_

#include <stdint.h>
#include <stddef.h>
#include <stdbool.h>

/**
 * @brief Initialize the crypto subsystem
 * 
 * @return 0 on success, negative value on error
 */
int crypto_ops_init(void);

/**
 * @brief Get information about available crypto hardware
 * 
 * @param[out] has_hw_aes Set to true if hardware AES is available
 * @param[out] has_hw_rng Set to true if hardware RNG is available
 * @param[out] has_hw_sha Set to true if hardware SHA is available
 * @param[out] has_hw_pka Set to true if hardware PKA is available
 */
void crypto_ops_get_capabilities(bool *has_hw_aes, bool *has_hw_rng, 
                               bool *has_hw_sha, bool *has_hw_pka);

/**
 * @brief AES-GCM encryption function
 * 
 * @param[in] key Pointer to the key
 * @param[in] key_len Length of the key in bytes (16, 24, or 32)
 * @param[in] nonce Pointer to the nonce (IV)
 * @param[in] nonce_len Length of the nonce in bytes (typically 12)
 * @param[in] aad Pointer to the additional authenticated data
 * @param[in] aad_len Length of the additional authenticated data in bytes
 * @param[in] plaintext Pointer to the plaintext data
 * @param[in] plaintext_len Length of the plaintext in bytes
 * @param[out] ciphertext Pointer to the buffer for the ciphertext
 * @param[in,out] ciphertext_len Length of the ciphertext buffer / Length of the ciphertext
 * @param[out] tag Pointer to the buffer for the authentication tag
 * @param[in] tag_len Length of the tag in bytes (typically 16)
 * 
 * @return 0 on success, negative value on error
 */
int crypto_ops_aes_gcm_encrypt(const uint8_t *key, size_t key_len,
                             const uint8_t *nonce, size_t nonce_len,
                             const uint8_t *aad, size_t aad_len,
                             const uint8_t *plaintext, size_t plaintext_len,
                             uint8_t *ciphertext, size_t *ciphertext_len,
                             uint8_t *tag, size_t tag_len);

/**
 * @brief AES-GCM decryption function
 * 
 * @param[in] key Pointer to the key
 * @param[in] key_len Length of the key in bytes (16, 24, or 32)
 * @param[in] nonce Pointer to the nonce (IV)
 * @param[in] nonce_len Length of the nonce in bytes (typically 12)
 * @param[in] aad Pointer to the additional authenticated data
 * @param[in] aad_len Length of the additional authenticated data in bytes
 * @param[in] ciphertext Pointer to the ciphertext data
 * @param[in] ciphertext_len Length of the ciphertext in bytes
 * @param[in] tag Pointer to the authentication tag
 * @param[in] tag_len Length of the tag in bytes
 * @param[out] plaintext Pointer to the buffer for the plaintext
 * @param[in,out] plaintext_len Length of the plaintext buffer / Length of the plaintext
 * 
 * @return 0 on success, negative value on error
 */
int crypto_ops_aes_gcm_decrypt(const uint8_t *key, size_t key_len,
                             const uint8_t *nonce, size_t nonce_len,
                             const uint8_t *aad, size_t aad_len,
                             const uint8_t *ciphertext, size_t ciphertext_len,
                             const uint8_t *tag, size_t tag_len,
                             uint8_t *plaintext, size_t *plaintext_len);

/**
 * @brief SHA-256 hash function
 * 
 * @param[in] data Pointer to the data to hash
 * @param[in] data_len Length of the data in bytes
 * @param[out] hash Pointer to the buffer for the hash (must be at least 32 bytes)
 * 
 * @return 0 on success, negative value on error
 */
int crypto_ops_sha256(const uint8_t *data, size_t data_len, uint8_t *hash);

/**
 * @brief Generate random bytes
 * 
 * @param[out] buffer Pointer to the buffer for the random bytes
 * @param[in] len Length of the buffer in bytes
 * 
 * @return 0 on success, negative value on error
 */
int crypto_ops_random_bytes(uint8_t *buffer, size_t len);

/**
 * @brief Run a self-test of the crypto operations
 * 
 * @return 0 on success, negative value on error
 */
int crypto_ops_self_test(void);

#endif /* CRYPTO_OPS_H_ */
```

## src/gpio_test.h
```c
/*
 * Copyright (c) 2025 CRUSTy-Core
 *
 * SPDX-License-Identifier: Apache-2.0
 */

#ifndef GPIO_TEST_H
#define GPIO_TEST_H

#include <zephyr/kernel.h>

/**
 * @brief Initialize the GPIO test module
 *
 * This function initializes the GPIO test module, setting up the necessary
 * GPIO and UART interfaces for interactive testing.
 *
 * @return 0 on success, negative error code on failure
 */
int gpio_test_init(void);

/**
 * @brief Run the GPIO test sequence
 *
 * This function runs through a predefined test sequence to verify GPIO
 * functionality, including LED control and button simulation.
 *
 * @return 0 on success, negative error code on failure
 */
int gpio_test_run_sequence(void);

/**
 * @brief Process a UART command for GPIO testing
 *
 * This function processes UART commands related to GPIO testing, allowing
 * for interactive control of GPIOs.
 *
 * @param cmd The command string to process
 * @param cmd_len Length of the command string
 * @return 0 on success, negative error code on failure
 */
int gpio_test_process_command(const char *cmd, size_t cmd_len);

/**
 * @brief Print help information for GPIO test commands
 *
 * This function prints help information for the available GPIO test commands
 * to the UART console.
 */
void gpio_test_print_help(void);

/**
 * @brief Simulate a button press
 *
 * This function simulates a button press/release cycle for testing GPIO
 * callbacks without physical hardware.
 *
 * @param duration_ms Duration to hold the button in pressed state, in milliseconds
 * @return 0 on success, negative error code on failure
 */
int gpio_test_simulate_button_press(uint32_t duration_ms);

#endif /* GPIO_TEST_H */
```

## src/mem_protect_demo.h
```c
/*
 * Copyright (c) 2025 CRUSTy-Core
 *
 * SPDX-License-Identifier: Apache-2.0
 */

#ifndef MEM_PROTECT_DEMO_H
#define MEM_PROTECT_DEMO_H

#include <zephyr/kernel.h>

/**
 * @brief Initialize the memory protection demo
 *
 * @return 0 on success, error code on failure
 */
int mem_protect_demo_init(void);

/**
 * @brief Run the memory protection demo
 *
 * This function demonstrates the memory protection capabilities by:
 * 1. Allocating secure memory
 * 2. Testing access permissions
 * 3. Demonstrating memory sanitization
 * 4. Verifying memory protection boundaries
 *
 * @return 0 on success, error code on failure
 */
int mem_protect_demo_run(void);

/**
 * @brief Print help information for the memory protection demo
 */
void mem_protect_demo_print_help(void);

#endif /* MEM_PROTECT_DEMO_H */
```
